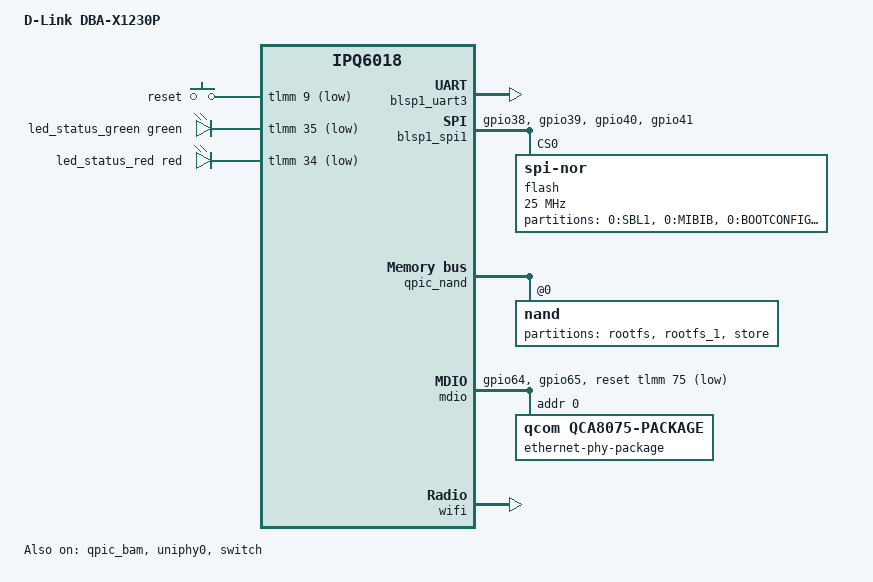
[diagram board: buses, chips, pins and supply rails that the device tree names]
// SPDX-License-Identifier: GPL-2.0-or-later OR MIT

/dts-v1/;

#include "ipq6018.dtsi"
#include "ipq6018-ess.dtsi"
#include "ipq6018-cp-cpu.dtsi"
#include "ipq6018-512m.dtsi"

#include <dt-bindings/gpio/gpio.h>
#include <dt-bindings/input/input.h>
#include <dt-bindings/leds/common.h>

/ {
	model = "D-Link DBA-X1230P";
	compatible = "dlink,dba-x1230p", "qcom,ipq6018";

	aliases {
		serial0 = &blsp1_uart3;
		led-boot = &led_status_green;
		led-failsafe = &led_status_red;
		led-running = &led_status_green;
		led-upgrade = &led_status_red;
		label-mac-device = &swport5;
	};

	chosen {
		stdout-path = "serial0:115200n8";
		bootargs-append = " root=/dev/ubiblock0_1";
	};

	keys {
		compatible = "gpio-keys";
		pinctrl-0 = <&button_pins>;
		pinctrl-names = "default";

		reset {
			label = "reset";
			linux,code = <KEY_RESTART>;
			gpios = <&tlmm 9 GPIO_ACTIVE_LOW>;
			debounce-interval = <60>;
		};
	};

	leds {
		compatible = "gpio-leds";
		pinctrl-0 = <&led_pins>;
		pinctrl-names = "default";

		led_status_green: led-green {
			color = <LED_COLOR_ID_GREEN>;
			function = LED_FUNCTION_STATUS;
			gpios = <&tlmm 35 GPIO_ACTIVE_LOW>;
		};

		led_status_red: led-red {
			color = <LED_COLOR_ID_RED>;
			function = LED_FUNCTION_STATUS;
			gpios = <&tlmm 34 GPIO_ACTIVE_LOW>;
		};
	};
};

&tlmm {
	button_pins: button_pinmux {
		pins = "gpio9";
		function = "gpio";
		drive-strength = <8>;
		bias-pull-up;
	};

	led_pins: led_pinmux {
		pins = "gpio34", "gpio35";
		function = "gpio";
		drive-strength = <8>;
		bias-pull-down;
	};

	mdio_pins: mdio_pinmux {
		mdc {
			pins = "gpio64";
			function = "mdc";
			drive-strength = <8>;
			bias-pull-up;
		};

		mdio {
			pins = "gpio65";
			function = "mdio";
			drive-strength = <8>;
			bias-pull-up;
		};
	};

	spi_pins: spi_pinmux {
		pins = "gpio38", "gpio39", "gpio40", "gpio41";
		function = "blsp0_spi";
		drive-strength = <8>;
		bias-pull-down;
	};
};

&blsp1_uart3 {
	status = "okay";

	pinctrl-0 = <&serial_3_pins>;
	pinctrl-names = "default";
};

&blsp1_spi1 {
	status = "okay";

	pinctrl-0 = <&spi_pins>;
	pinctrl-names = "default";

	flash@0 {
		reg = <0>;
		compatible = "jedec,spi-nor";
		spi-max-frequency = <25000000>;

		partitions {
			compatible = "fixed-partitions";
			#address-cells = <1>;
			#size-cells = <1>;

			partition@0 {
				label = "0:SBL1";
				reg = <0x00000000 0x000a0000>;
				read-only;
			};

			partition@a0000 {
				label = "0:MIBIB";
				reg = <0x000a0000 0x00010000>;
				read-only;
			};

			partition@b0000 {
				label = "0:BOOTCONFIG";
				reg = <0x000b0000 0x00020000>;
			};

			partition@d0000 {
				label = "0:BOOTCONFIG1";
				reg = <0x000d0000 0x00020000>;
			};

			partition@f0000 {
				label = "0:QSEE";
				reg = <0x000f0000 0x00170000>;
				read-only;
			};

			partition@260000 {
				label = "0:DEVCFG";
				reg = <0x00260000 0x00010000>;
				read-only;
			};

			partition@270000 {
				label = "0:RPM";
				reg = <0x00270000 0x00020000>;
				read-only;
			};

			partition@290000 {
				label = "0:CDT";
				reg = <0x00290000 0x00010000>;
				read-only;
			};

			partition@2a0000 {
				label = "0:APPSBLENV";
				reg = <0x002a0000 0x00010000>;

				nvmem-layout {
					compatible = "u-boot,env";

					macaddr_ethaddr: ethaddr {
						#nvmem-cell-cells = <1>;
					};
				};
			};

			partition@2b0000 {
				label = "0:APPSBL";
				reg = <0x002b0000 0x000a0000>;
				read-only;
			};

			partition@350000 {
				label = "0:ART";
				reg = <0x00350000 0x00040000>;
				read-only;
			};

			partition@390000 {
				label = "flash";
				reg = <0x00390000 0x00070000>;
				read-only;
			};
		};
	};
};

&qpic_bam {
	status = "okay";
};

&qpic_nand {
	status = "okay";

	nand@0 {
		reg = <0>;
		nand-bus-width = <8>;
		nand-ecc-strength = <4>;
		nand-ecc-step-size = <512>;

		partitions {
			compatible = "fixed-partitions";
			#address-cells = <1>;
			#size-cells = <1>;

			partition@0 {
				label = "rootfs";
				reg = <0x00000000 0x02000000>;
				linux,rootfs;
			};

			partition@2000000 {
				label = "rootfs_1";
				reg = <0x02000000 0x02000000>;
			};

			partition@4000000 {
				label = "store";
				reg = <0x04000000 0x04000000>;
			};
		};
	};
};

&mdio {
	status = "okay";

	pinctrl-0 = <&mdio_pins>;
	pinctrl-names = "default";
	reset-gpios = <&tlmm 75 GPIO_ACTIVE_LOW>;
	reset-delay-us = <10000>;
	reset-post-delay-us = <50000>;

	ethernet-phy-package@0 {
		compatible = "qcom,qca8075-package";
		#address-cells = <1>;
		#size-cells = <0>;
		reg = <0>;

		qcom,package-mode = "psgmii";

		/* The stock DTS lists PHYs 3 and 4 */
		qca8072_3: ethernet-phy@3 {
			compatible = "ethernet-phy-ieee802.3-c22";
			reg = <3>;
		};

		qca8072_4: ethernet-phy@4 {
			compatible = "ethernet-phy-ieee802.3-c22";
			reg = <4>;
		};
	};
};

&uniphy0 {
	status = "okay";
};

&switch {
	status = "okay";

	ports {
		#address-cells = <1>;
		#size-cells = <0>;

		port@0 {
			reg = <0>;
			ethernet = <&edma>;
			phy-mode = "internal";

			fixed-link {
				speed = <1000>;
				full-duplex;
			};
		};

		swport5: port@5 {
			reg = <5>;
			label = "lan";
			phy-handle = <&qca8072_4>;
			phy-mode = "psgmii";
			pcs-handle = <&uniphy0 4>;
			nvmem-cells = <&macaddr_ethaddr 0>;
			nvmem-cell-names = "mac-address";
		};
	};
};

&edma {
	status = "okay";
};

&wifi {
	status = "okay";

	qcom,ath11k-fw-memory-mode = <1>;
	qcom,calibration-variant = "D-Link-DBA-X1230P";
};
